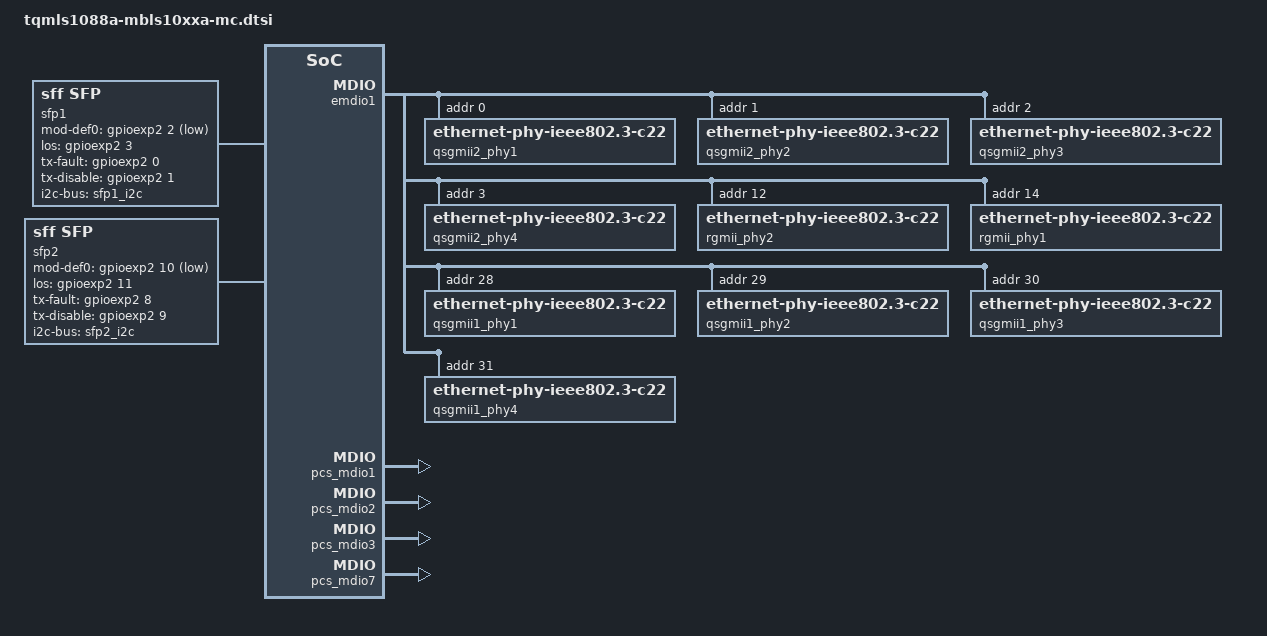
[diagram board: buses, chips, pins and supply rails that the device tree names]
// SPDX-License-Identifier: (GPL-2.0-or-later OR MIT)
/*
 * Copyright (c) 2018-2023 TQ-Systems GmbH <linux@ew.tq-group.com>,
 * D-82229 Seefeld, Germany.
 * Author: Gregor Herburger, Timo Herbrecher
 *
 * Device Tree Include file for MBLS10xxA from TQ (MC related sections)
 */

#include <dt-bindings/net/ti-dp83867.h>

/ {
	sfp1: sfp1 {
		compatible = "sff,sfp";
		i2c-bus = <&sfp1_i2c>;
		mod-def0-gpios = <&gpioexp2 2 GPIO_ACTIVE_LOW>;
		los-gpios = <&gpioexp2 3 GPIO_ACTIVE_HIGH>;
		tx-fault-gpios = <&gpioexp2 0 GPIO_ACTIVE_HIGH>;
		tx-disable-gpios = <&gpioexp2 1 GPIO_ACTIVE_HIGH>;
	};

	sfp2: sfp2 {
		compatible = "sff,sfp";
		i2c-bus = <&sfp2_i2c>;
		mod-def0-gpios = <&gpioexp2 10 GPIO_ACTIVE_LOW>;
		los-gpios = <&gpioexp2 11 GPIO_ACTIVE_HIGH>;
		tx-fault-gpios = <&gpioexp2 8 GPIO_ACTIVE_HIGH>;
		tx-disable-gpios = <&gpioexp2 9 GPIO_ACTIVE_HIGH>;
	};
};

&dpmac1 {
	pcs-handle = <&pcs1>;
};

&dpmac2 {
	pcs-handle = <&pcs2>;
};

&dpmac3 {
	pcs-handle = <&pcs3_0>;
};

&dpmac4 {
	pcs-handle = <&pcs3_1>;
};

&dpmac5 {
	pcs-handle = <&pcs3_2>;
};

&dpmac6 {
	pcs-handle = <&pcs3_3>;
};

&dpmac7 {
	pcs-handle = <&pcs7_0>;
};

&dpmac8 {
	pcs-handle = <&pcs7_1>;
};

&dpmac9 {
	pcs-handle = <&pcs7_2>;
};

&dpmac10 {
	pcs-handle = <&pcs7_3>;
};

&emdio1 {
	status = "okay";

	qsgmii2_phy1: ethernet-phy@0 {
		compatible = "ethernet-phy-ieee802.3-c22";
		reg = <0x00>;
	};

	qsgmii2_phy2: ethernet-phy@1 {
		compatible = "ethernet-phy-ieee802.3-c22";
		reg = <0x01>;
	};

	qsgmii2_phy3: ethernet-phy@2 {
		compatible = "ethernet-phy-ieee802.3-c22";
		reg = <0x02>;
	};

	qsgmii2_phy4: ethernet-phy@3 {
		compatible = "ethernet-phy-ieee802.3-c22";
		reg = <0x03>;
	};

	rgmii_phy2: ethernet-phy@c {
		compatible = "ethernet-phy-ieee802.3-c22";
		reg = <0x0c>;
		ti,rx-internal-delay = <DP83867_RGMIIDCTL_1_50_NS>;
		ti,tx-internal-delay = <DP83867_RGMIIDCTL_1_50_NS>;
		ti,fifo-depth = <DP83867_PHYCR_FIFO_DEPTH_8_B_NIB>;
	};

	rgmii_phy1: ethernet-phy@e {
		compatible = "ethernet-phy-ieee802.3-c22";
		reg = <0x0e>;
		ti,rx-internal-delay = <DP83867_RGMIIDCTL_1_50_NS>;
		ti,tx-internal-delay = <DP83867_RGMIIDCTL_1_50_NS>;
		ti,fifo-depth = <DP83867_PHYCR_FIFO_DEPTH_8_B_NIB>;
	};

	qsgmii1_phy1: ethernet-phy@1c {
		compatible = "ethernet-phy-ieee802.3-c22";
		reg = <0x1c>;
	};

	qsgmii1_phy2: ethernet-phy@1d {
		compatible = "ethernet-phy-ieee802.3-c22";
		reg = <0x1d>;
	};

	qsgmii1_phy3: ethernet-phy@1e {
		compatible = "ethernet-phy-ieee802.3-c22";
		reg = <0x1e>;
	};

	qsgmii1_phy4: ethernet-phy@1f {
		compatible = "ethernet-phy-ieee802.3-c22";
		reg = <0x1f>;
	};
};

&pcs_mdio1 {
	status = "okay";
};

&pcs_mdio2 {
	status = "okay";
};

&pcs_mdio3 {
	status = "okay";
};

&pcs_mdio7 {
	status = "okay";
};
